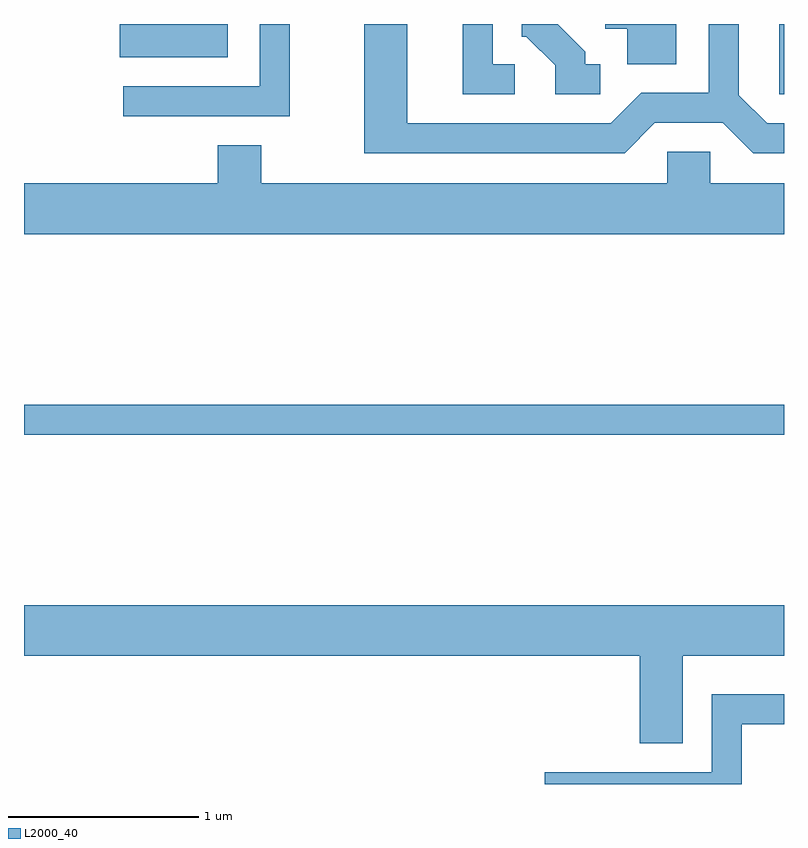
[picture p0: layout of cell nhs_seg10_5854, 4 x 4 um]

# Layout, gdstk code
import gdstk
lib = gdstk.Library(unit=1e-6, precision=1e-09)
def R(c, l, rs):  # rectangles x0, y0, x1, y1
    for r in rs: c.add(gdstk.rectangle(r[:2], r[2:], *l))
def P(c, l, *ps):  # polygons
    for p in ps: c.add(gdstk.Polygon(p, *l))
L2000_40 = (2000, 40)

nhs_seg10_5854 = lib.new_cell('nhs_seg10_5854')
R(nhs_seg10_5854, L2000_40, [(357.611,2168.361,361.611,2168.519), (361.586,2170.151,361.611,2170.522), (358.116,2170.346,358.684,2170.522)])
P(nhs_seg10_5854, L2000_40, [(360.932,2170.001),(361.289,2170.001),(361.449,2169.841),(361.611,2169.841),(361.611,2169.999),(361.522,2169.999),(361.374,2170.147),(361.374,2170.522),(361.216,2170.522),(361.216,2170.159),(360.859,2170.159),(360.699,2169.999),(359.629,2169.999),(359.629,2170.522),(359.401,2170.522),(359.401,2169.841),(360.772,2169.841)],
  [(361.044,2170.522),(360.671,2170.522),(360.671,2170.496),(360.786,2170.496),(360.786,2170.311),(361.044,2170.311)],
  [(359.009,2170.522),(358.851,2170.522),(358.851,2170.194),(358.133,2170.194),(358.133,2170.036),(359.009,2170.036)],
  [(360.193,2170.309),(360.079,2170.309),(360.079,2170.522),(359.921,2170.522),(359.921,2170.151),(360.193,2170.151)],
  [(360.643,2170.309),(360.564,2170.309),(360.564,2170.377),(360.419,2170.522),(360.231,2170.522),(360.231,2170.456),(360.254,2170.456),(360.406,2170.304),(360.406,2170.151),(360.643,2170.151)],
  [(361.611,2169.684),(361.224,2169.684),(361.224,2169.849),(360.996,2169.849),(360.996,2169.684),(358.859,2169.684),(358.859,2169.884),(358.631,2169.884),(358.631,2169.684),(357.611,2169.684),(357.611,2169.416),(361.611,2169.416)],
  [(361.079,2167.196),(361.611,2167.196),(361.611,2167.464),(357.611,2167.464),(357.611,2167.196),(360.851,2167.196),(360.851,2166.736),(361.079,2166.736)],
  [(361.389,2166.836),(361.611,2166.836),(361.611,2166.994),(361.231,2166.994),(361.231,2166.584),(360.353,2166.584),(360.353,2166.522),(361.389,2166.522)])

lib.write_gds('nhs_seg10_5854.gds')
